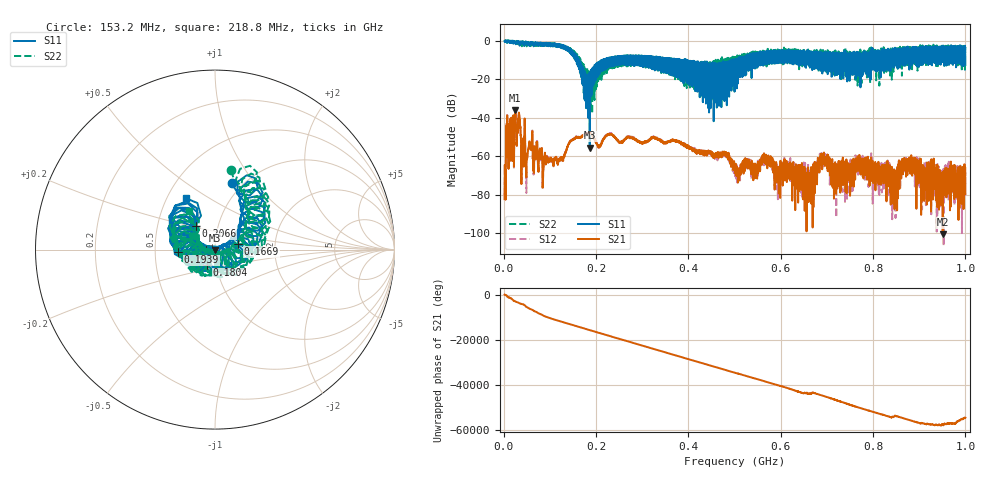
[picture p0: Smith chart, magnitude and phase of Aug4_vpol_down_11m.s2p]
!Keysight Technologies N9923A: A.12.45
!Date: Tuesday, 05 August 2025 20:32:19
!Timezone: (UTC+08:00) Kuala Lumpur, Singapore
!Model: N9923A
!Serial: MY61181427
!GPS Latitude:
!GPS Longitude:
!GPS TimeStamp: 0001-01-01 00:00:00Z
!GPS Seconds Since Last Read: 0
!CHECKSUM:1816886598
!Correction: S11(ON U)S21(ON U)S12(ON U)S22(ON U)
!S2P File: Measurements:S11,S21,S12,S22:
# Hz S DB R 50
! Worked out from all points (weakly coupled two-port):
!   4001 points, 2 MHz to 1 GHz, reference 50 ohm
!   highest |S21| = -36.19 dB at 25.2 MHz (marker M1); lowest = -100.5 dB at 950.8 MHz (marker M2)
!   lowest |S11| = -55.5 dB at 186.4 MHz (marker M3), VSWR 1.00, Z = 49.9 - j0.159 ohm
!   |S11| at or under -10 dB: 162.8 MHz to 213.8 MHz (50.98 MHz wide, 27.1 % of centre); 382 MHz to 385.2 MHz (3.188 MHz wide, 0.831 % of centre); 395.5 MHz to 494 MHz (98.49 MHz wide, 22.1 % of centre)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
!   |S22| runs from -37.9 to 0.1 dB; largest |S21 - S12| = 0.00099
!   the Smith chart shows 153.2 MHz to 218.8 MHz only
!   S11 on the Smith chart (normalised r, x): 153.2 MHz: 0.89, +0.77; 166.9 MHz: 1.29, +0.09; 180.4 MHz: 0.90, -0.16; 193.9 MHz: 0.66, -0.02; 206.6 MHz: 0.78, +0.21; 218.8 MHz: 0.62, +0.40
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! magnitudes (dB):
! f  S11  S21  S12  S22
! 2 MHz  -0.1  -82.3  -80.2  -0.1
! 9.984 MHz  0.2  -53.8  -53.9  0.1
! 25.2 MHz  -0.4  -36.2  -36.2  -1.6
! 88.58 MHz  -1.8  -59.6  -59.9  -1.9
! 153.2 MHz  -8.4  -50.8  -50.4  -6.9
! 166.9 MHz  -17.5  -50.4  -50.3  -14.5
! 168.4 MHz  -19.1  -50.1  -49.7  -14.7
! 180.4 MHz  -20.2  -48.3  -48.0  -21.1
! 186.4 MHz  -55.5  -48.1  -48.1  -20.0
! 193.9 MHz  -13.8  -49.8  -49.4  -16.9
! 206.6 MHz  -15.4  -55.5  -55.3  -20.8
! 218.8 MHz  -9.6  -50.1  -50.0  -11.7
! 334.8 MHz  -8.6  -51.2  -50.9  -10.4
! 501 MHz  -9.9  -68.9  -70.1  -9.2
! 566.9 MHz  -9.0  -63.1  -59.4  -5.7
! 667.4 MHz  -6.0  -69.5  -67.1  -7.2
! 689.9 MHz  -13.4  -66.8  -61.2  -5.8
! 833.8 MHz  -6.4  -69.4  -64.8  -13.9
! 846.3 MHz  -6.5  -68.8  -69.1  -4.2
! 883.5 MHz  -8.9  -63.8  -64.8  -3.5
! 950.8 MHz  -6.8  -100.5  -70.6  -3.2
! 1 GHz  -12.5  -79.6  -70.3  -3.9
